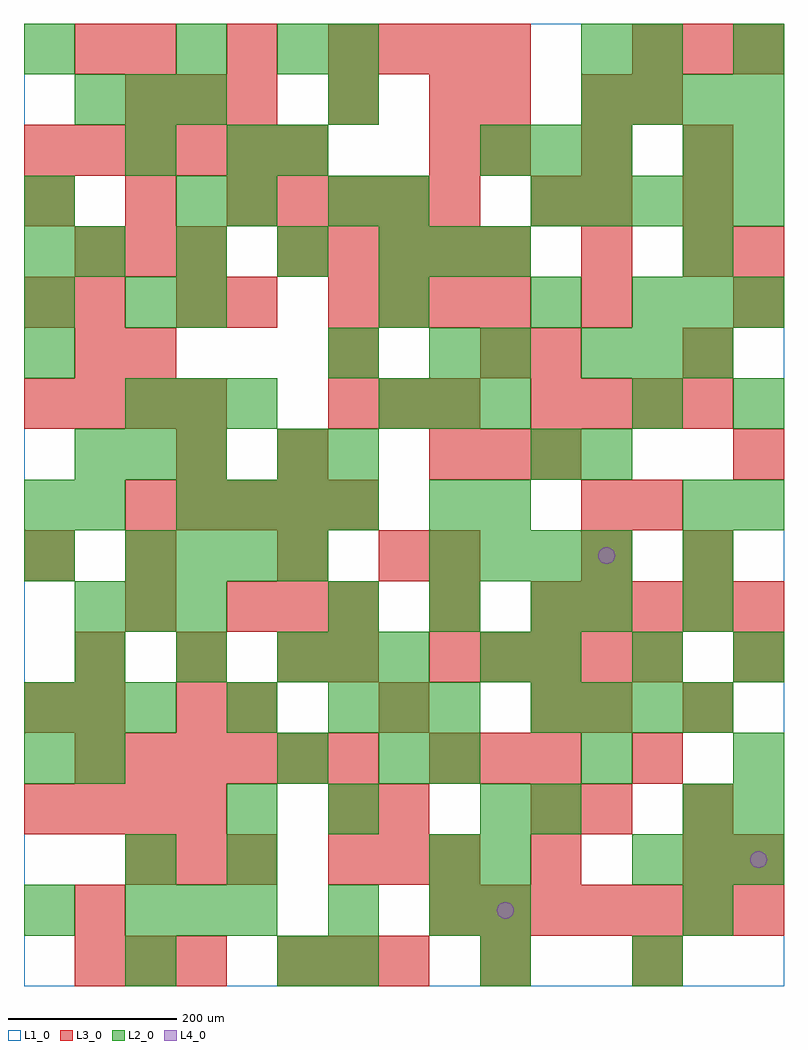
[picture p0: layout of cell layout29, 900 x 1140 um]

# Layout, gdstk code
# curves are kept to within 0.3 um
import gdstk
lib = gdstk.Library(unit=1e-6, precision=1e-09)
def R(c, l, rs):  # rectangles x0, y0, x1, y1
    for r in rs: c.add(gdstk.rectangle(r[:2], r[2:], *l))
def A(c, l, x, y, w, h, nx, ny, dx, dy):  # array of equal rectangles
    R(c, l, [(x+i*dx, y+j*dy, x+i*dx+w, y+j*dy+h) for i in range(nx) for j in range(ny)])
def P(c, l, *ps):  # polygons
    for p in ps: c.add(gdstk.Polygon(p, *l))
L1_0 = (1, 0)
L2_0 = (2, 0)
L3_0 = (3, 0)
L4_0 = (4, 0)

layout29 = lib.new_cell('layout29')
R(layout29, L1_0, [(0,0,900,1140)])
A(layout29, L2_0, 360, 0, 60, 60, 3, 1, 180, 0)
A(layout29, L2_0, 120, 60, 60, 60, 3, 2, 60, 600)
A(layout29, L2_0, 540, 60, 60, 60, 1, 3, 0, 60)
A(layout29, L2_0, 720, 120, 60, 60, 3, 2, 60, 660)
A(layout29, L2_0, 300, 240, 60, 60, 1, 3, 0, 360)
A(layout29, L2_0, 480, 240, 60, 60, 3, 1, 180, 0)
A(layout29, L2_0, 0, 300, 60, 60, 3, 1, 60, 0)
A(layout29, L2_0, 360, 300, 60, 60, 3, 1, 60, 0)
A(layout29, L2_0, 600, 300, 60, 60, 4, 1, 60, 0)
A(layout29, L2_0, 60, 360, 60, 60, 3, 1, 120, 0)
A(layout29, L2_0, 540, 360, 60, 60, 1, 3, 0, 180)
A(layout29, L2_0, 600, 360, 60, 60, 3, 1, 120, 0)
A(layout29, L2_0, 60, 420, 60, 60, 3, 2, 60, 180)
A(layout29, L2_0, 360, 420, 60, 60, 3, 1, 120, 0)
A(layout29, L2_0, 780, 420, 60, 60, 1, 3, 0, 60)
A(layout29, L2_0, 120, 480, 60, 60, 4, 1, 60, 0)
A(layout29, L2_0, 480, 480, 60, 60, 4, 1, 60, 0)
A(layout29, L2_0, 180, 540, 60, 60, 4, 1, 60, 0)
A(layout29, L2_0, 420, 660, 60, 60, 3, 1, 60, 0)
A(layout29, L2_0, 0, 720, 60, 60, 1, 4, 0, 60)
A(layout29, L2_0, 660, 720, 60, 60, 3, 1, 60, 0)
A(layout29, L2_0, 60, 840, 60, 60, 4, 1, 120, 0)
A(layout29, L2_0, 600, 900, 60, 60, 5, 1, 60, 0)
A(layout29, L2_0, 540, 960, 60, 60, 3, 1, 60, 0)
A(layout29, L2_0, 60, 1020, 60, 60, 3, 1, 60, 0)
A(layout29, L2_0, 660, 1020, 60, 60, 4, 1, 60, 0)
R(layout29, L2_0, [(120,0,180,60), (300,0,360,60), (0,60,60,120), (360,60,420,120), (480,60,540,120), (780,60,840,120), (120,120,180,180), (240,120,300,180), (480,120,540,180), (240,180,300,240), (360,180,420,240), (600,180,660,240), (780,180,840,240), (840,180,900,240), (0,240,60,300), (60,240,120,300), (420,240,480,300), (240,300,300,360), (360,360,420,420), (420,360,480,420), (660,420,720,480), (0,480,60,540), (0,540,60,600), (60,540,120,600), (480,540,540,600), (840,540,900,600), (360,600,420,660), (600,600,660,660), (660,600,720,660), (720,660,780,720), (840,660,900,720), (360,720,420,780), (480,720,540,780), (120,780,180,840), (180,780,240,840), (420,780,480,840), (600,780,660,840), (480,840,540,900), (540,840,600,900), (780,840,840,900), (180,900,240,960), (240,900,300,960), (360,900,420,960), (420,900,480,960), (120,960,180,1020), (240,960,300,1020), (780,960,840,1020), (840,960,900,1020), (360,1020,420,1080), (0,1080,60,1140), (180,1080,240,1140), (300,1080,360,1140), (360,1080,420,1140), (660,1080,720,1140), (720,1080,780,1140), (840,1080,900,1140)])
A(layout29, L3_0, 60, 0, 60, 60, 3, 2, 60, 840)
A(layout29, L3_0, 300, 0, 60, 60, 3, 1, 60, 0)
A(layout29, L3_0, 480, 60, 60, 60, 7, 1, 60, 0)
A(layout29, L3_0, 120, 120, 60, 60, 3, 2, 60, 900)
A(layout29, L3_0, 360, 120, 60, 60, 3, 2, 60, 540)
A(layout29, L3_0, 840, 120, 60, 60, 1, 3, 0, 240)
A(layout29, L3_0, 0, 180, 60, 60, 4, 2, 60, 480)
A(layout29, L3_0, 60, 240, 60, 60, 6, 1, 60, 0)
A(layout29, L3_0, 480, 240, 60, 60, 3, 2, 60, 360)
A(layout29, L3_0, 240, 300, 60, 60, 3, 1, 180, 0)
A(layout29, L3_0, 60, 360, 60, 60, 3, 1, 120, 0)
A(layout29, L3_0, 480, 360, 60, 60, 5, 1, 60, 0)
A(layout29, L3_0, 240, 420, 60, 60, 3, 1, 60, 0)
A(layout29, L3_0, 600, 420, 60, 60, 5, 1, 60, 0)
A(layout29, L3_0, 120, 540, 60, 60, 5, 1, 60, 0)
A(layout29, L3_0, 600, 660, 60, 60, 4, 1, 60, 0)
A(layout29, L3_0, 360, 780, 60, 60, 4, 1, 60, 0)
A(layout29, L3_0, 660, 780, 60, 60, 1, 3, 0, 60)
A(layout29, L3_0, 300, 840, 60, 60, 5, 1, 60, 0)
A(layout29, L3_0, 0, 900, 60, 60, 3, 1, 120, 0)
A(layout29, L3_0, 300, 900, 60, 60, 4, 1, 60, 0)
A(layout29, L3_0, 0, 960, 60, 60, 6, 1, 60, 0)
A(layout29, L3_0, 540, 960, 60, 60, 3, 1, 120, 0)
A(layout29, L3_0, 120, 1080, 60, 60, 3, 1, 120, 0)
A(layout29, L3_0, 420, 1080, 60, 60, 3, 1, 60, 0)
A(layout29, L3_0, 720, 1080, 60, 60, 3, 1, 60, 0)
R(layout29, L3_0, [(540,0,600,60), (720,0,780,60), (60,60,120,120), (600,120,660,180), (780,120,840,180), (360,180,420,240), (420,180,480,240), (600,180,660,240), (660,180,720,240), (780,180,840,240), (720,240,780,300), (0,300,60,360), (60,300,120,360), (180,300,240,360), (660,300,720,360), (780,300,840,360), (360,360,420,420), (120,420,180,480), (480,420,540,480), (0,480,60,540), (120,480,180,540), (300,480,360,540), (420,480,480,540), (480,480,540,540), (660,480,720,540), (780,480,840,540), (660,540,720,600), (720,540,780,600), (180,600,240,660), (300,600,360,660), (60,720,120,780), (120,720,180,780), (360,720,420,780), (540,720,600,780), (600,720,660,780), (780,720,840,780), (0,780,60,840), (60,780,120,840), (180,780,240,840), (240,780,300,840), (840,780,900,840), (780,840,840,900), (840,840,900,900), (600,900,660,960), (780,900,840,960), (480,960,540,1020), (360,1020,420,1080), (480,1020,540,1080), (540,1020,600,1080), (660,1020,720,1080), (720,1020,780,1080), (60,1080,120,1140)])
P(layout29, L4_0, [(580,90),(579.239,93.827),(577.071,97.071),(573.827,99.239),(570,100),(566.173,99.239),(562.929,97.071),(560.761,93.827),(560,90),(560.761,86.173),(562.929,82.929),(566.173,80.761),(570,80),(573.827,80.761),(577.071,82.929),(579.239,86.173)],
  [(700,510),(699.239,513.827),(697.071,517.071),(693.827,519.239),(690,520),(686.173,519.239),(682.929,517.071),(680.761,513.827),(680,510),(680.761,506.173),(682.929,502.929),(686.173,500.761),(690,500),(693.827,500.761),(697.071,502.929),(699.239,506.173)],
  [(880,150),(879.239,153.827),(877.071,157.071),(873.827,159.239),(870,160),(866.173,159.239),(862.929,157.071),(860.761,153.827),(860,150),(860.761,146.173),(862.929,142.929),(866.173,140.761),(870,140),(873.827,140.761),(877.071,142.929),(879.239,146.173)])

lib.write_gds('layout29.gds')
